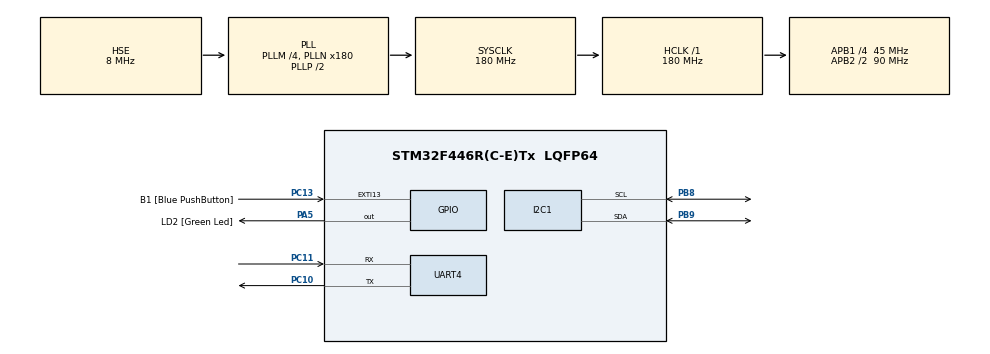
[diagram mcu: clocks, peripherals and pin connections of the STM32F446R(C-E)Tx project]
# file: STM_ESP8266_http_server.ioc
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Dma.Request0=UART4_RX
Dma.UART4_RX.0.Direction=DMA_PERIPH_TO_MEMORY
Dma.UART4_RX.0.FIFOMode=DMA_FIFOMODE_DISABLE
Dma.UART4_RX.0.Instance=DMA1_Stream2
Dma.UART4_RX.0.MemDataAlignment=DMA_MDATAALIGN_BYTE
Dma.UART4_RX.0.MemInc=DMA_MINC_ENABLE
Dma.UART4_RX.0.Mode=DMA_CIRCULAR
Dma.UART4_RX.0.PeriphDataAlignment=DMA_PDATAALIGN_BYTE
Dma.UART4_RX.0.PeriphInc=DMA_PINC_DISABLE
Dma.UART4_RX.0.Priority=DMA_PRIORITY_LOW
I2C1.I2C_Mode=I2C_Fast
Mcu.Family=STM32F4
Mcu.Name=STM32F446R(C-E)Tx
Mcu.Package=LQFP64
NVIC.DMA1_Stream2_IRQn=true\:0\:0\:false\:false\:true\:false\:true
NVIC.PriorityGroup=NVIC_PRIORITYGROUP_0
PA13.GPIO_Label=TMS
PA13.Mode=Serial_Wire
PA13.Signal=SYS_JTMS-SWDIO
PA14.GPIO_Label=TCK
PA14.Mode=Serial_Wire
PA14.Signal=SYS_JTCK-SWCLK
PA2.GPIO_Label=USART_TX
PA2.Signal=USART2_TX
PA3.GPIO_Label=USART_RX
PA3.Signal=USART2_RX
PA5.GPIO_Label=LD2 [Green Led]
PA5.Signal=GPIO_Output
PB3.GPIO_Label=SWO
PB3.Signal=SYS_JTDO-SWO
PB8.Mode=I2C
PB8.Signal=I2C1_SCL
PB9.Mode=I2C
PB9.Signal=I2C1_SDA
PC10.Mode=Asynchronous
PC10.Signal=UART4_TX
PC11.Mode=Asynchronous
PC11.Signal=UART4_RX
PC13.GPIO_Label=B1 [Blue PushButton]
PC13.GPIO_ModeDefaultEXTI=GPIO_MODE_IT_FALLING
PC13.Signal=GPXTI13
PC14-OSC32_IN.Signal=RCC_OSC32_IN
PC15-OSC32_OUT.Signal=RCC_OSC32_OUT
PH0-OSC_IN.Mode=HSE-External-Clock-Source
PH0-OSC_IN.Signal=RCC_OSC_IN
PH1-OSC_OUT.Mode=HSE-External-Clock-Source
PH1-OSC_OUT.Signal=RCC_OSC_OUT
ProjectManager.HeapSize=0x200
ProjectManager.StackSize=0x400
ProjectManager.TargetToolchain=STM32CubeIDE
RCC.AHBFreq_Value=180000000
RCC.APB1CLKDivider=RCC_HCLK_DIV4
RCC.APB1Freq_Value=45000000
RCC.APB1TimFreq_Value=90000000
RCC.APB2CLKDivider=RCC_HCLK_DIV2
RCC.APB2Freq_Value=90000000
RCC.APB2TimFreq_Value=180000000
RCC.CortexFreq_Value=180000000
RCC.FLatency-AdvancedSettings=FLASH_LATENCY_5
RCC.HCLKFreq_Value=180000000
RCC.HSE_VALUE=8000000
RCC.HSI_VALUE=16000000
RCC.LSE_VALUE=32768
RCC.PLLM=4
RCC.PLLN=180
RCC.PLLSourceVirtual=RCC_PLLSOURCE_HSE
RCC.SYSCLKFreq_VALUE=180000000
RCC.SYSCLKSource=RCC_SYSCLKSOURCE_PLLCLK
RCC.USBFreq_Value=180000000
RCC.VCOOutputFreq_Value=360000000
UART4.VirtualMode=Asynchronous
board=NUCLEO-F446RE

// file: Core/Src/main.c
/* USER CODE BEGIN Header */
/**
  ******************************************************************************
  * @file           : main.c
  * @brief          : Main program body
  ******************************************************************************
  * @attention
  *
  * <h2><center>&copy; Copyright (c) 2019 STMicroelectronics.
  * All rights reserved.</center></h2>
  *
  * This software component is licensed by ST under BSD 3-Clause license,
  * the "License"; You may not use this file except in compliance with the
  * License. You may obtain a copy of the License at:
  *                        opensource.org/licenses/BSD-3-Clause
  *
  ******************************************************************************
  */
/* USER CODE END Header */

#include "main.h"
#include "dma.h"
#include "i2c.h"
#include "usart.h"
#include "gpio.h"
#include "lcd.h"
#include "ringbuffer_dma.h"
#include "BMP280.h"
#include <string.h>
RingBuffer_DMA ring;
/* USER CODE BEGIN Includes */
#define BUF_SIZE  4096
//A**RRAY FOR RING
uint8_t rx[BUF_SIZE];
uint32_t rx_count;
//A**RRAY FOR COMMAND
uint8_t command[BUF_SIZE];
uint8_t icmd = 0;
//*** BMP280
double temp, press, alt;
int8_t com_rslt;
#define QNH 1005

/* ESP8266 variables */
#define SERVER_PORT     "8888"
#define SERVER_ADD		"192.168.31.55"
#define SERVER_TOK		"restoration1"				// At least 10 symbols
#define WIFI_SSID		    "TechMaker"//"kofein"
#define WIFI_PASS			"#techmaker#"//"speciality"
//**UART_COMMAND
char uart_co[256];

/* USER CODE END Includes */

void SystemClock_Config(void);
void UART_R(){
	rx_count = RingBuffer_DMA_Count(&ring);
    while(rx_count --){
    	uint8_t byte = RingBuffer_DMA_GetByte(&ring);
    	if(byte == '\n'){
    		command[icmd] = 0;
    		icmd = 0 ;
    		LCD_Printf("%s \n", command);
    		continue;
    	}
    	else if (byte == '\r') {
    		//LCD_Printf("trying to get information \n");
            continue;
    	}
    	else{
    		command[icmd++ % BUF_SIZE] = byte;
    	}
    }
}
//void UART_R();

int main(void)
{

  /* MCU Configuration--------------------------------------------------------*/

  /* Reset of all peripherals, Initializes the Flash interface and the Systick. */
  HAL_Init();

  /* Configure the system clock */
  SystemClock_Config();

  /* Initialize all configured peripherals */
  MX_GPIO_Init();
  MX_DMA_Init();
  MX_UART4_Init();
  MX_I2C1_Init();
  LCD_Init();

  /* USER CODE BEGIN 2 */
  //R***ING buffer in.
  RingBuffer_DMA_Init(&ring , huart4.hdmarx , rx , BUF_SIZE);
  //U***ART recieving DMA
  HAL_UART_Receive_DMA(&huart4, rx, BUF_SIZE);
  //B***MP280
  LCD_Printf("Connecting to BMP280...\n");
  	bmp280_t bmp280 = {.i2c_handle = &hi2c1};
  	com_rslt = BMP280_init(&bmp280);
  	com_rslt += BMP280_set_power_mode(BMP280_NORMAL_MODE);
  	com_rslt += BMP280_set_work_mode(BMP280_STANDARD_RESOLUTION_MODE);
  	com_rslt += BMP280_set_standby_durn(BMP280_STANDBY_TIME_1_MS);
  	if (com_rslt != SUCCESS) {
  		LCD_Printf("Check BMP280 connection!\nProgram terminated");
  		return 0;
  	}
  	LCD_Printf("Connection successful!\n");
  ///*** CONNECTING TO THE ROUTER
    //##ping
  sprintf(uart_co, "AT+RST\r\n");
  HAL_UART_Transmit(&huart4, (uint8_t * )uart_co, strlen(uart_co), HAL_MAX_DELAY);
  HAL_Delay(300);
  UART_R();
    //##Turn on message echo
  sprintf(uart_co, "ATE1\r\n");
  HAL_UART_Transmit(&huart4, (uint8_t *)uart_co, strlen(uart_co), HAL_MAX_DELAY);
  HAL_Delay(100);
  UART_R();
    //##Display version info
  sprintf(uart_co, "AT+GMR\r\n");
  HAL_UART_Transmit(&huart4, (uint8_t *)uart_co, strlen(uart_co), HAL_MAX_DELAY);
  HAL_Delay(500);
  UART_R();
    //##Set to client mode
  sprintf(uart_co, "AT+CWMODE_CUR=1\r\n");
  HAL_UART_Transmit(&huart4, (uint8_t *)uart_co, strlen(uart_co), HAL_MAX_DELAY);
  HAL_Delay(100);
  UART_R();
  HAL_Delay(2000);
    //##Connect to network
  sprintf(uart_co, "AT+CWJAP_CUR=\"%s\",\"%s\"\r\n", WIFI_SSID, WIFI_PASS);
  HAL_UART_Transmit(&huart4, (uint8_t *)uart_co, strlen(uart_co), HAL_MAX_DELAY);
  HAL_Delay(10000);
  UART_R();
    //##Check for IP
  sprintf(uart_co, "AT+CIFSR\r\n");
  HAL_UART_Transmit(&huart4, (uint8_t *)uart_co, strlen(uart_co), HAL_MAX_DELAY);
  HAL_Delay(5000);
  UART_R();
  /* USER CODE END 2 */
  /* Infinite loop */
  /* USER CODE BEGIN WHILE */
  while (1){
	  /* Get BMP280 data */
     BMP280_read_temperature_double(&temp);
	 BMP280_read_pressure_double(&press);
	 alt = BMP280_calculate_altitude(QNH*100);
	 //***REQUEST for sending
	 char rq[256];
	 sprintf(rq,"&temp=%.1f&press=%.0f %.1f HTTP/1.1\r\nHost: %s\r\n\r\n", temp, press, alt, SERVER_ADD);
	 //***CONNECTING to the server
		sprintf(uart_co, "AT+CIPSTART=\"TCP\",\"%s\",%s\r\n", SERVER_ADD , SERVER_PORT);
		HAL_UART_Transmit(&huart4, (uint8_t *)uart_co, strlen(uart_co), 1000);
		HAL_Delay(10000);
		UART_R();
	//*** send length to
		sprintf(uart_co, "AT+CIPSEND=%d\r\n", strlen(rq));
				HAL_UART_Transmit(&huart4, (uint8_t *)uart_co, strlen(uart_co), HAL_MAX_DELAY);
				HAL_Delay(200); // wait for ">"
				UART_R();
	///***Send data
	   HAL_UART_Transmit(&huart4, (uint8_t *)rq, strlen(rq), 1000);
	   HAL_Delay(1800);
	   UART_R();
	///***Disconnect from server */
	    sprintf(uart_co, "AT+CIPCLOSE\r\n");
		HAL_UART_Transmit(&huart4, (uint8_t *)uart_co, strlen(uart_co), 1000);
		HAL_Delay(1000);
		UART_R();

    /* USER CODE END WHILE */

  }
}
// UART_+++++++++___/__/

void SystemClock_Config(void)
{
  RCC_OscInitTypeDef RCC_OscInitStruct = {0};
  RCC_ClkInitTypeDef RCC_ClkInitStruct = {0};

  /** Configure the main internal regulator output voltage
  */
  __HAL_RCC_PWR_CLK_ENABLE();
  __HAL_PWR_VOLTAGESCALING_CONFIG(PWR_REGULATOR_VOLTAGE_SCALE1);
  /** Initializes the CPU, AHB and APB busses clocks
  */
  RCC_OscInitStruct.OscillatorType = RCC_OSCILLATORTYPE_HSE;
  RCC_OscInitStruct.HSEState = RCC_HSE_BYPASS;
  RCC_OscInitStruct.PLL.PLLState = RCC_PLL_ON;
  RCC_OscInitStruct.PLL.PLLSource = RCC_PLLSOURCE_HSE;
  RCC_OscInitStruct.PLL.PLLM = 4;
  RCC_OscInitStruct.PLL.PLLN = 180;
  RCC_OscInitStruct.PLL.PLLP = RCC_PLLP_DIV2;
  RCC_OscInitStruct.PLL.PLLQ = 2;
  RCC_OscInitStruct.PLL.PLLR = 2;
  if (HAL_RCC_OscConfig(&RCC_OscInitStruct) != HAL_OK)
  {
    Error_Handler();
  }
  /** Activate the Over-Drive mode
  */
  if (HAL_PWREx_EnableOverDrive() != HAL_OK)
  {
    Error_Handler();
  }
  /** Initializes the CPU, AHB and APB busses clocks
  */
  RCC_ClkInitStruct.ClockType = RCC_CLOCKTYPE_HCLK|RCC_CLOCKTYPE_SYSCLK
                              |RCC_CLOCKTYPE_PCLK1|RCC_CLOCKTYPE_PCLK2;
  RCC_ClkInitStruct.SYSCLKSource = RCC_SYSCLKSOURCE_PLLCLK;
  RCC_ClkInitStruct.AHBCLKDivider = RCC_SYSCLK_DIV1;
  RCC_ClkInitStruct.APB1CLKDivider = RCC_HCLK_DIV4;
  RCC_ClkInitStruct.APB2CLKDivider = RCC_HCLK_DIV2;

  if (HAL_RCC_ClockConfig(&RCC_ClkInitStruct, FLASH_LATENCY_5) != HAL_OK)
  {
    Error_Handler();
  }
}

void Error_Handler(void)
{
}

/************************ (C) COPYRIGHT STMicroelectronics *****END OF FILE****/
